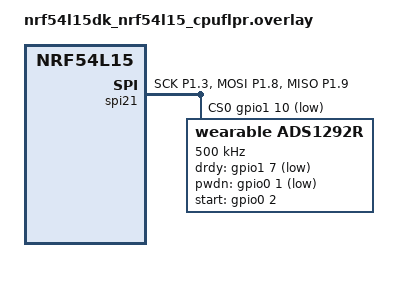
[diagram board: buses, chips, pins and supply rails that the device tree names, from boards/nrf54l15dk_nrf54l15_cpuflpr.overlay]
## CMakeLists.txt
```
# Firmware for the nRF54L15's FLPR RISC-V coprocessor: ADS1292R reading,
# heart rate, breathing rate and the two vital-sign triggers. Built by sysbuild
# from ../sysbuild.cmake; it shares its algorithm and driver code with ../src.
cmake_minimum_required(VERSION 3.20.0)

# the wearable,ads1292r binding lives in ../dts/bindings
list(APPEND DTS_ROOT ${CMAKE_CURRENT_SOURCE_DIR}/..)

find_package(Zephyr REQUIRED HINTS $ENV{ZEPHYR_BASE})
project(afe_flpr LANGUAGES C CXX)

set(DEV_SRC ${CMAKE_CURRENT_SOURCE_DIR}/../src)
target_include_directories(app PRIVATE ${DEV_SRC})
target_sources(app PRIVATE
  src/main.cpp
  ${DEV_SRC}/algo/ecg_qrs.cpp
  ${DEV_SRC}/algo/resp_rate.cpp
  ${DEV_SRC}/drivers/ads1292r.cpp
)
```

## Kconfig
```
mainmenu "AFE coprocessor (FLPR)"

config FLPR_RECORD_S
	int "Raw ECG + Bio-Z kept per recording [s]"
	range 10 60
	default 60
	help
	  6 bytes per sample at 125 Hz: 60 s takes 45 kB of the coprocessor's
	  96 kB of RAM.

source "Kconfig.zephyr"
```

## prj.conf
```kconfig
# C++20, no exceptions / RTTI / heap
CONFIG_CPP=y
CONFIG_STD_CPP20=y
CONFIG_GLIBCXX_LIBCPP=y

CONFIG_GPIO=y
CONFIG_SPI=y

CONFIG_IPC_SERVICE=y
CONFIG_IPC_SERVICE_BACKEND_ICMSG=y
CONFIG_MBOX=y

# no console: UART30's pins carry the ADS1292R control lines
CONFIG_SERIAL=n
CONFIG_CONSOLE=n
CONFIG_UART_CONSOLE=n
CONFIG_PRINTK=n
CONFIG_LOG=n
```

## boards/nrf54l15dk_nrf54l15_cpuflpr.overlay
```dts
/*
 * The FLPR coprocessor owns the ADS1292R: SPI21, DRDY on port 1 (GPIOTE20)
 * and the PWDN/START outputs. Pins are the same placeholders as the
 * application core's overlay (../../boards/nrf54l15dk_nrf54l15_cpuapp.overlay).
 *
 *  ADS1292R  SCK P1.03  MOSI P1.08  MISO P1.09  CS P1.10   (spi21, 500 kHz)
 *            DRDY P1.07  PWDN/RESET P0.01  START P0.02
 */

/ {
	soc {
		reserved-memory {
			#address-cells = <1>;
			#size-cells = <1>;

			sram_tx: memory@20018000 {
				reg = <0x20018000 0x0800>;
			};

			sram_rx: memory@20020000 {
				reg = <0x20020000 0x0800>;
			};
		};
	};

	ipc {
		ipc0: ipc0 {
			compatible = "zephyr,ipc-icmsg";
			dcache-alignment = <32>;
			tx-region = <&sram_tx>;
			rx-region = <&sram_rx>;
			mboxes = <&cpuflpr_vevif_rx 21>, <&cpuflpr_vevif_tx 20>;
			mbox-names = "rx", "tx";
			status = "okay";
		};
	};
};

&cpuflpr_vevif_rx {
	status = "okay";
};

&cpuflpr_vevif_tx {
	status = "okay";
};

&pinctrl {
	spi21_default_alt: spi21_default_alt {
		group1 {
			psels = <NRF_PSEL(SPIM_SCK, 1, 3)>,
				<NRF_PSEL(SPIM_MOSI, 1, 8)>,
				<NRF_PSEL(SPIM_MISO, 1, 9)>;
		};
	};

	spi21_sleep_alt: spi21_sleep_alt {
		group1 {
			psels = <NRF_PSEL(SPIM_SCK, 1, 3)>,
				<NRF_PSEL(SPIM_MOSI, 1, 8)>,
				<NRF_PSEL(SPIM_MISO, 1, 9)>;
			low-power-enable;
		};
	};
};

/* its pins carry ADS1292R control lines; GPIOTE30 (port 0) belongs to the app core */
&uart30 {
	status = "disabled";
};

&gpiote30 {
	status = "disabled";
};

/* PWDN/START are plain outputs on port 0; its interrupts belong to the app core */
&gpio0 {
	/delete-property/ gpiote-instance;
};

&spi21 {
	status = "okay";
	pinctrl-0 = <&spi21_default_alt>;
	pinctrl-1 = <&spi21_sleep_alt>;
	pinctrl-names = "default", "sleep";
	cs-gpios = <&gpio1 10 GPIO_ACTIVE_LOW>;

	ads1292r: ads1292r@0 {
		compatible = "wearable,ads1292r";
		reg = <0>;
		spi-max-frequency = <500000>;
		drdy-gpios = <&gpio1 7 GPIO_ACTIVE_LOW>;
		pwdn-gpios = <&gpio0 1 GPIO_ACTIVE_LOW>;
		start-gpios = <&gpio0 2 GPIO_ACTIVE_HIGH>;
	};
};
```

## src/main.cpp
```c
// FLPR coprocessor (RISC-V): owns the ADS1292R so the application core can
// sleep. Reads every sample (125 Hz), computes heart rate and breathing rate
// with the same algorithm code as the application core, and runs the two
// vital-sign triggers. When one fires it sends a Trigger message; the
// application core then records and analyses a minute of everything.
// On request it sends a Status every second and records a full minute of raw
// ECG + Bio-Z samples into its own RAM.
#include <algorithm>
#include <array>
#include <atomic>
#include <cstdint>
#include <cstring>

#include <zephyr/ipc/ipc_service.h>
#include <zephyr/kernel.h>
#include <zephyr/spinlock.h>

#include "afe_msgs.hpp"
#include "algo/ecg_qrs.hpp"
#include "algo/resp_rate.hpp"
#include "algo/vital_trigger.hpp"
#include "drivers/ads1292r.hpp"

namespace {

using namespace dev;
namespace msg = dev::afe_msg;

#define ADS_NODE DT_NODELABEL(ads1292r)

constinit drv::Ads1292r ads{
	SPI_DT_SPEC_GET(ADS_NODE, SPI_WORD_SET(8) | SPI_TRANSFER_MSB | SPI_MODE_CPHA),
	GPIO_DT_SPEC_GET(ADS_NODE, drdy_gpios),
	GPIO_DT_SPEC_GET_OR(ADS_NODE, pwdn_gpios, {}),
	GPIO_DT_SPEC_GET_OR(ADS_NODE, start_gpios, {}),
};
constinit algo::QrsDetector qrs{};
constinit algo::RespRate resp{};
constinit algo::VitalTrigger trig{};

// ---- one minute of raw samples, readable by the application core ------------

constexpr std::size_t kRecordSamples = CONFIG_FLPR_RECORD_S * drv::Ads1292r::kSps;
constexpr std::size_t kBytesPerSample = 6;
uint8_t record_buf[kRecordSamples * kBytesPerSample];
std::size_t record_n;

void put24(uint8_t *p, int32_t v)
{
	p[0] = static_cast<uint8_t>(v >> 16);
	p[1] = static_cast<uint8_t>(v >> 8);
	p[2] = static_cast<uint8_t>(v);
}

// ---- IPC -------------------------------------------------------------------------

ipc_ept ep;
K_SEM_DEFINE(bound_sem, 0, 1);
std::atomic<bool> bound{false};

// written by the IPC callback, applied by the main loop
k_spinlock rx_lock;
msg::Config pending_cfg;
bool cfg_pending;
std::atomic<uint8_t> stream_mode{static_cast<uint8_t>(msg::StreamMode::Off)};
std::atomic<bool> rearm_pending{false};

void on_bound(void *) { bound = true; k_sem_give(&bound_sem); }

void on_received(const void *data, size_t len, void *)
{
	if (len < 1) {
		return;
	}
	const auto type = static_cast<msg::Type>(*static_cast<const uint8_t *>(data));
	if (type == msg::Type::Config && len == sizeof(msg::Config)) {
		const k_spinlock_key_t key = k_spin_lock(&rx_lock);
		std::memcpy(&pending_cfg, data, sizeof(pending_cfg));
		cfg_pending = true;
		k_spin_unlock(&rx_lock, key);
	} else if (type == msg::Type::Stream && len == sizeof(msg::Stream)) {
		stream_mode = static_cast<uint8_t>(static_cast<const msg::Stream *>(data)->mode);
	} else if (type == msg::Type::Rearm) {
		rearm_pending = true;
	}
}

template <typename T> void send(const T &m)
{
	if (bound) {
		ipc_service_send(&ep, &m, sizeof(m));
	}
}

void apply_config()
{
	msg::Config c;
	{
		const k_spinlock_key_t key = k_spin_lock(&rx_lock);
		if (!cfg_pending) {
			k_spin_unlock(&rx_lock, key);
			return;
		}
		c = pending_cfg;
		cfg_pending = false;
		k_spin_unlock(&rx_lock, key);
	}
	trig.reset({
		.hr_high = c.hr_high,
		.hr_low = c.hr_low,
		.rr_high = c.rr_high,
		.rr_low = c.rr_low,
		.apnea = c.trig_apnea != 0,
		.confirm_ms = c.confirm_ms,
	});
	resp.reset({.apnea_ms = c.apnea_ms});
}

int ipc_init()
{
	const device *ipc = DEVICE_DT_GET(DT_NODELABEL(ipc0));
	static const ipc_ept_cfg cfg = {
		.name = "afe",
		.cb = {.bound = on_bound, .received = on_received},
	};
	int err = ipc_service_open_instance(ipc);
	if (err && err != -EALREADY) {
		return err;
	}
	return ipc_service_register_endpoint(ipc, &ep, &cfg);
}

} // namespace

int main()
{
	qrs.reset();
	resp.reset({});
	trig.reset({}); // defaults until the application core sends its settings
	if (ipc_init() != 0) {
		return 0;
	}
	k_sem_take(&bound_sem, K_SECONDS(5));
	if (ads.init() != 0) {
		return 0; // the application core sees no Status and reports the ECG as invalid
	}

	constexpr std::size_t kBlock = drv::Ads1292r::kSps / 5; // 200 ms
	std::array<float, kBlock> ecg, bioz;
	std::size_t n = 0, blocks = 0;
	uint8_t loff = 0;
	int misses = 0;
	auto last_mode = msg::StreamMode::Off;

	for (;;) {
		if (ads.wait(K_MSEC(100)) != 0) {
			if (++misses >= 10) {
				ads.init(); // no DRDY for a second: restart the AFE
				misses = 0;
			}
			continue;
		}
		misses = 0;
		drv::Ads1292r::Sample s;
		if (ads.read(s) != 0) {
			continue;
		}

		const auto mode = static_cast<msg::StreamMode>(stream_mode.load());
		if (mode == msg::StreamMode::Record && last_mode != msg::StreamMode::Record) {
			record_n = 0; // a new minute starts
		}
		if (mode == msg::StreamMode::Record && record_n < kRecordSamples) {
			uint8_t *p = &record_buf[record_n * kBytesPerSample];
			put24(p, s.ecg);
			put24(p + 3, s.resp);
			if (++record_n == kRecordSamples) {
				send(msg::Recording{
					.type = msg::Type::Recording,
					.reserved = {},
					.addr = static_cast<uint32_t>(reinterpret_cast<uintptr_t>(record_buf)),
					.samples = static_cast<uint32_t>(record_n),
					.sps = drv::Ads1292r::kSps,
				});
			}
		}
		last_mode = mode;

		ecg[n] = s.ecg * drv::Ads1292r::kEcgUvPerLsb;
		bioz[n] = static_cast<float>(s.resp);
		loff |= s.loff;
		if (++n < kBlock) {
			continue;
		}
		n = 0;
		// breathing is measured through the same two electrodes as the ECG
		const bool off = loff & (drv::Ads1292r::kLoffEcg | drv::Ads1292r::kLoffResp);
		loff = 0;
		qrs.process(ecg, off);
		resp.process(bioz, off);
		if (++blocks < 5) {
			continue;
		}
		blocks = 0;

		// ---- once a second ----
		apply_config();
		if (rearm_pending.exchange(false)) {
			trig.rearm();
		}
		const algo::VitalTrigger::Input in{
			.hr_valid = qrs.hr_valid(),
			.hr_bpm = qrs.hr_bpm(),
			.rr_valid = resp.valid(),
			.rr_bpm = resp.rate_bpm(),
			.apnea = resp.apnea(),
			.leads_off = off,
		};
		const uint8_t fired = trig.update(in, k_uptime_get_32());
		if (fired) {
			send(msg::Trigger{
				.type = msg::Type::Trigger,
				.bits = fired,
				.reserved = {},
				.hr_bpm = in.hr_bpm,
				.rr_bpm = in.rr_bpm,
			});
		}
		if (mode != msg::StreamMode::Off) {
			send(msg::Status{
				.type = msg::Type::Status,
				.flags = static_cast<uint8_t>((in.hr_valid ? msg::kHrValid : 0) |
							      (in.rr_valid ? msg::kRrValid : 0) |
							      (in.apnea ? msg::kApnea : 0) |
							      (off ? msg::kLeadsOff : 0)),
				.reserved = {},
				.hr_bpm = in.hr_bpm,
				.rr_bpm = in.rr_bpm,
			});
		}
	}
	return 0;
}
```
